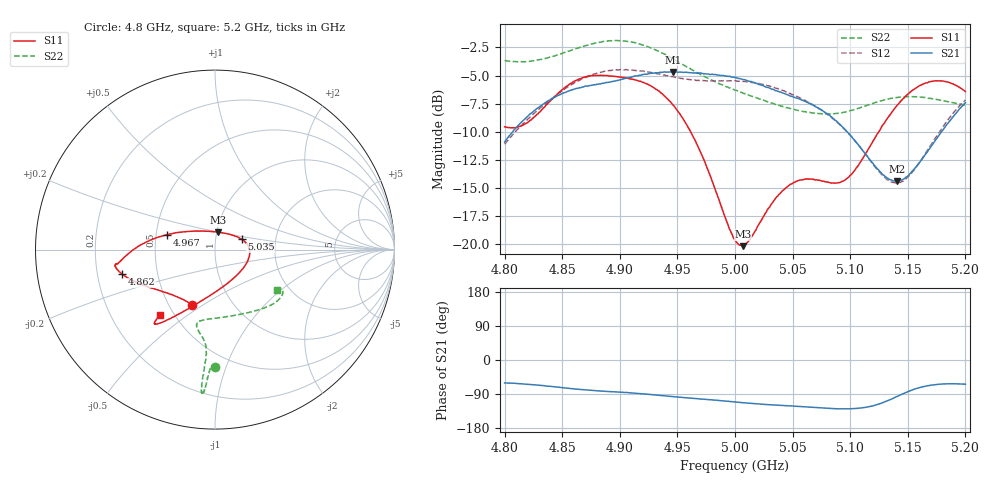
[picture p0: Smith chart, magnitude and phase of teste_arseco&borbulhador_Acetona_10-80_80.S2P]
! Network Analyzer HP8722D
! Hewlett-Packard
! Data name: Linha & Wilkinson
! Saver's name: Rodrigo Anjos
! Comments: Teste da utilização de aquisição
! continua pelo VNA HP8722D
! Time and date: 17/4/2025 15:01
!  Frequency  S11  S21  S12  S22
# HZ  S  MA R 50
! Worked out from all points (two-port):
!   401 points, 4.8 GHz to 5.2 GHz, reference 50 ohm
!   highest |S21| = -4.67 dB at 4.946 GHz (marker M1); lowest = -14.4 dB at 5.141 GHz (marker M2)
!   |S21| within 3 dB of the highest: 4.832 GHz to 5.069 GHz (236.8 MHz wide, 4.78 % of centre); 5.197688 GHz to end of sweep
!   lowest |S11| = -20.2 dB at 5.007 GHz (marker M3), VSWR 1.22, Z = 50.8 + j9.88 ohm
!   |S11| at or under -10 dB: 4.961 GHz to 5.125 GHz (163.3 MHz wide, 3.24 % of centre)
!   |S22| runs from -8.4 to -1.9 dB; largest |S21 - S12| = 0.88
!   S11 on the Smith chart (normalised r, x): 4.8 GHz: 0.65, -0.45; 4.862 GHz: 0.31, -0.12; 4.967 GHz: 0.57, +0.10; 5.035 GHz: 1.34, +0.16; 5.2 GHz: 0.42, -0.40
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4.8e9  0.3328 -112.9  0.2844 -60.6  0.2783 -174.8  0.6559 -89.8
4.819e9  0.3457 -132.8  0.3661 -63.6  0.3546 -173.2  0.6499 -91.4
4.84e9  0.4344 -152.2  0.4401 -69.6  0.4403 -173.5  0.6808 -92.7
4.862e9  0.5347 -165.2  0.4921 -76.6  0.527 -176.5  0.7413 -93.6
4.867e9  0.5483 -167.1  0.4996 -78.3  0.5436 -177.4  0.7545 -93.8
4.9e9  0.5542 -171.8  0.5383 -84.8  0.5968 175.9  0.8037 -95.1
4.934e9  0.4798 -177.7  0.5797 -93.2  0.5723 172.0  0.7185 -95.5
4.946e9  0.4169 176.7  0.5839 -96.7  0.5556 172.2  0.6689 -95.2
4.967e9  0.2779 162.4  0.5753 -101.9  0.5345 174.1  0.5789 -94.8
5e9  0.1043 103.9  0.5517 -110.8  0.5332 176.4  0.4839 -99.0
5.007e9  0.09787 79.7  0.5397 -112.8  0.5291 176.4  0.469 -100.7
5.035e9  0.159 21.5  0.4817 -119.1  0.4949 175.1  0.4182 -103.5
5.05e9  0.1861 5.9  0.453 -121.6  0.4624 174.3  0.3987 -99.8
5.067e9  0.1941 -12.1  0.4177 -124.7  0.4191 173.9  0.3833 -91.0
5.086e9  0.1868 -42.1  0.3602 -128.3  0.3583 173.8  0.3801 -76.8
5.097e9  0.1952 -64.7  0.3171 -128.8  0.3161 174.5  0.3883 -67.7
5.134e9  0.3732 -115.7  0.1941 -105.6  0.1907 -158.7  0.4437 -43.0
5.141e9  0.4155 -119.6  0.1903 -95.8  0.1869 -147.6  0.4492 -39.8
5.153e9  0.4792 -124.6  0.2084 -80.0  0.2057 -129.3  0.453 -35.6
5.17e9  0.5286 -128.3  0.2707 -66.5  0.2758 -112.6  0.4452 -31.8
5.184e9  0.5271 -129.6  0.3412 -63.0  0.3525 -107.1  0.4314 -30.8
5.2e9  0.4772 -130.1  0.4257 -64.0  0.4378 -106.2  0.4146 -33.1
